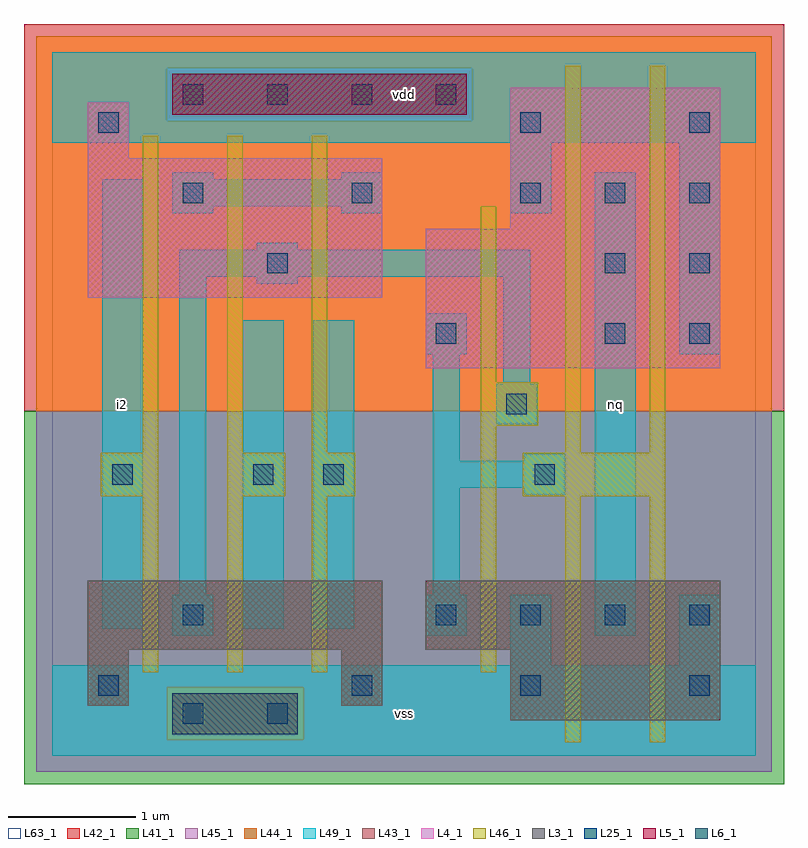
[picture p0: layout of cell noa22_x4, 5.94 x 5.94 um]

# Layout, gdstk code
import gdstk
lib = gdstk.Library(unit=1e-6, precision=1e-09)
def R(c, l, rs):  # rectangles x0, y0, x1, y1
    for r in rs: c.add(gdstk.rectangle(r[:2], r[2:], *l))
def A(c, l, x, y, w, h, nx, ny, dx, dy):  # array of equal rectangles
    R(c, l, [(x+i*dx, y+j*dy, x+i*dx+w, y+j*dy+h) for i in range(nx) for j in range(ny)])
L3_1 = (3, 1)
L4_1 = (4, 1)
L5_1 = (5, 1)
L6_1 = (6, 1)
L25_1 = (25, 1)
L41_1 = (41, 1)
L42_1 = (42, 1)
L43_1 = (43, 1)
L44_1 = (44, 1)
L45_1 = (45, 1)
L46_1 = (46, 1)
L49_1 = (49, 1)
L63_1 = (63, 1)

noa22_x4 = lib.new_cell('noa22_x4')
R(noa22_x4, L3_1, [(3.58,0.28,5.22,0.83), (0.28,0.39,0.6,0.83), (2.26,0.39,2.58,0.83), (0.28,0.83,2.58,1.37), (2.92,0.83,5.22,1.37)])
R(noa22_x4, L4_1, [(2.92,3.03,5.22,4.12), (0.28,3.58,2.58,4.67), (3.58,4.12,5.22,5.22), (0.28,4.67,0.6,5.11)])
R(noa22_x4, L5_1, [(0.94,5.01,3.24,5.33)])
R(noa22_x4, L6_1, [(0.94,0.17,1.92,0.49)])
A(noa22_x4, L25_1, 2.34, 0.47, 0.16, 0.16, 3, 1, 1.32, 0)
A(noa22_x4, L25_1, 3, 1.02, 0.16, 0.16, 4, 1, 0.66, 0)
A(noa22_x4, L25_1, 4.32, 3.22, 0.16, 0.16, 1, 3, 0, 0.55)
A(noa22_x4, L25_1, 4.98, 3.22, 0.16, 0.16, 1, 4, 0, 0.55)
A(noa22_x4, L25_1, 1.02, 4.32, 0.16, 0.16, 3, 1, 1.32, 0)
A(noa22_x4, L25_1, 1.02, 5.09, 0.16, 0.16, 4, 1, 0.66, 0)
R(noa22_x4, L25_1, [(1.02,0.25,1.18,0.41), (1.68,0.25,1.84,0.41), (0.36,0.47,0.52,0.63), (1.02,1.02,1.18,1.18), (0.47,2.12,0.63,2.28), (1.57,2.12,1.73,2.28), (2.12,2.12,2.28,2.28), (3.77,2.12,3.93,2.28), (3.55,2.67,3.71,2.83), (3,3.22,3.16,3.38), (1.68,3.77,1.84,3.93), (0.36,4.87,0.52,5.03), (3.66,4.87,3.82,5.03)])
R(noa22_x4, L41_1, [(-0.22,-0.22,5.72,2.695)])
R(noa22_x4, L42_1, [(-0.22,2.695,5.72,5.72)])
R(noa22_x4, L43_1, [(0.94,0.17,1.92,0.49), (3.58,0.28,5.22,0.83), (0.28,0.39,0.6,0.83), (2.26,0.39,2.58,0.83), (0.28,0.83,2.58,1.37), (2.92,0.83,5.22,1.37), (2.92,3.03,5.22,4.12), (0.28,3.58,2.58,4.67), (3.58,4.12,5.22,5.22), (0.28,4.67,0.6,5.11), (0.94,5.01,3.24,5.33)])
R(noa22_x4, L44_1, [(0.895,0.125,1.965,0.535), (-0.125,2.695,5.625,4.965), (-0.125,4.965,0.895,5.375), (3.285,4.965,5.625,5.375), (-0.125,5.375,5.625,5.625)])
R(noa22_x4, L45_1, [(-0.125,-0.125,5.625,0.125), (-0.125,0.125,0.895,0.535), (1.965,0.125,5.625,0.535), (-0.125,0.535,5.625,2.695), (0.895,4.965,3.285,5.375)])
A(noa22_x4, L46_1, 0.71, 0.655, 0.12, 1.375, 3, 1, 0.66, 0)
A(noa22_x4, L46_1, 0.71, 2.37, 0.12, 2.475, 3, 1, 0.66, 0)
R(noa22_x4, L46_1, [(4.01,0.105,4.13,2.03), (4.67,0.105,4.79,2.03), (3.35,0.655,3.47,2.58), (0.38,2.03,0.83,2.37), (1.37,2.03,1.82,2.37), (2.03,2.03,2.37,2.37), (3.68,2.03,4.79,2.37), (4.01,2.37,4.13,5.395), (4.67,2.37,4.79,5.395), (3.35,2.58,3.8,2.92), (3.35,2.92,3.47,4.295)])
R(noa22_x4, L49_1, [(0,0,5.5,0.71), (3.58,0.71,3.9,1.26), (4.9,0.71,5.22,1.26), (0.94,0.94,1.26,1.26), (2.92,0.94,3.24,1.26), (4.24,0.94,4.56,4.56), (0.39,0.995,0.71,4.505), (1.49,0.995,1.81,3.405), (2.04,0.995,2.36,3.405), (0.995,1.26,1.205,3.745), (2.975,1.26,3.185,2.095), (3.69,2.04,4.01,2.095), (2.975,2.095,4.01,2.305), (2.975,2.305,3.185,3.14), (3.69,2.305,4.01,2.36), (3.47,2.59,3.79,2.91), (3.525,2.91,3.735,3.745), (2.92,3.14,3.24,3.46), (4.9,3.14,5.22,4.79), (1.6,3.69,1.92,3.745), (0.995,3.745,3.735,3.955), (1.6,3.955,1.92,4.01), (0.94,4.24,1.26,4.295), (2.26,4.24,2.58,4.295), (3.58,4.24,3.9,4.79), (0.94,4.295,2.58,4.505), (0.94,4.505,1.26,4.56), (2.26,4.505,2.58,4.56), (0,4.79,5.5,5.5)])
R(noa22_x4, L63_1, [(0,0,5.5,5.5)])
noa22_x4.add(gdstk.Label('i2', (0.55,2.75), layer=49, texttype=1))
noa22_x4.add(gdstk.Label('i2', (0.55,2.75), layer=49, texttype=1))
noa22_x4.add(gdstk.Label('vss', (2.75,0.33), layer=49, texttype=1))
noa22_x4.add(gdstk.Label('vss', (2.75,0.33), layer=49, texttype=1))
noa22_x4.add(gdstk.Label('vdd', (2.75,5.17), layer=49, texttype=1))
noa22_x4.add(gdstk.Label('vdd', (2.75,5.17), layer=49, texttype=1))
noa22_x4.add(gdstk.Label('nq', (4.4,2.75), layer=49, texttype=1))
noa22_x4.add(gdstk.Label('nq', (4.4,2.75), layer=49, texttype=1))

lib.write_gds('noa22_x4.gds')
